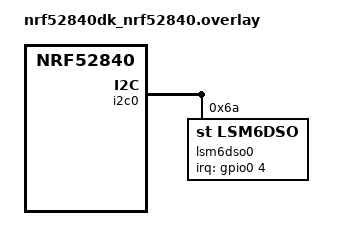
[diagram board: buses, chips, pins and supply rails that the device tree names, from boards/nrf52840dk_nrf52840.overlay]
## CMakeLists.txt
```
# SPDX-License-Identifier: Apache-2.0
cmake_minimum_required(VERSION 3.20.0)

# 1. Version Info
set(APP_VERSION_MAJOR 1)
set(APP_VERSION_MINOR 0)
set(APP_VERSION_PATCH 0)

find_package(Zephyr REQUIRED HINTS $ENV{ZEPHYR_BASE})

# 2. Project Name
project(ble_hearable VERSION ${APP_VERSION_MAJOR}.${APP_VERSION_MINOR}.${APP_VERSION_PATCH})

# 3. Add source files
target_sources(app PRIVATE
  src/main.c
  src/imu.c
  src/gesture_detect.c
  src/gesture_thread.c
  src/adaptive_power.c
  src/power_stats.c
  src/watchdog.c
)

if(CONFIG_BT)
  target_sources(app PRIVATE src/gesture_service.c src/fault_recovery.c src/ble_adaptive.c src/network_stress.c src/state_reporter.c)
endif()

# 4. Pass versions to C code
target_compile_definitions(app PRIVATE
  -DAPP_VERSION_MAJOR=${APP_VERSION_MAJOR}
  -DAPP_VERSION_MINOR=${APP_VERSION_MINOR}
  -DAPP_VERSION_PATCH=${APP_VERSION_PATCH}
)
```

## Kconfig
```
mainmenu "BLE Hearable System"

# nRF52840 PM workaround
config APP_PM_HOOKS
    bool
    default y
    select HAS_PM
    help
      Provides the pm_state_set() and pm_state_exit_post_ops() hooks.
      Without this, CONFIG_PM silently resolves to 'n' on nRF52840.

source "Kconfig.zephyr"
```

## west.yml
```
manifest:
  projects:
    - name: zephyr
      url: https://github.com/zephyrproject-rtos/zephyr
      revision: v4.3.0
      import: true
  self:
    path: firmware
```

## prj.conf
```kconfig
CONFIG_SYSTEM_WORKQUEUE_STACK_SIZE=4096
CONFIG_MAIN_STACK_SIZE=4096
CONFIG_PRINTK=y

CONFIG_BT=y
CONFIG_BT_PERIPHERAL=y
CONFIG_BT_DEVICE_NAME="Zephyr Hearable"
CONFIG_BT_SETTINGS=y
CONFIG_BT_L2CAP_TX_MTU=498
CONFIG_BT_BUF_ACL_RX_SIZE=502
CONFIG_BT_BUF_ACL_TX_SIZE=502

CONFIG_I2C=y
CONFIG_SENSOR=y
CONFIG_LSM6DSO=y

CONFIG_FLASH=y
CONFIG_FLASH_MAP=y
CONFIG_NVS=y
CONFIG_SETTINGS=y

CONFIG_BOOTLOADER_MCUBOOT=y
CONFIG_IMG_MANAGER=y
CONFIG_STREAM_FLASH=y

CONFIG_ZCBOR=y
CONFIG_MCUMGR=y
CONFIG_MCUMGR_TRANSPORT_BT=y
CONFIG_MCUMGR_GRP_IMG=y
CONFIG_MCUMGR_GRP_OS=y
CONFIG_MCUMGR_TRANSPORT_BT_REASSEMBLY=y
CONFIG_MCUMGR_TRANSPORT_NETBUF_SIZE=2475
CONFIG_MCUMGR_TRANSPORT_NETBUF_COUNT=8

# Power Management
# HAS_PM is selected by APP_PM_HOOKS in the app Kconfig file —
# that is what makes CONFIG_PM=y actually take effect on nRF52840.
CONFIG_PM=y
# CONFIG_PM_DEVICE is intentionally disabled.
# pm_resume_devices() is called from ISR context (_isr_wrapper → pm_system_resume).
# Any PM device whose resume callback does I/O (I2C, SPI, QSPI, sensor init)
# calls k_sem_take() from ISR context → assertion in sem.c.
# CPU sleep (WFI / suspend-to-idle) works through CONFIG_PM alone;
# device PM hooks are not needed for this application.
CONFIG_PM_DEVICE=n
CONFIG_TICKLESS_KERNEL=y

# Sleep / idle stats (SCHED_THREAD_USAGE* are auto-selected by THREAD_RUNTIME_STATS)
CONFIG_THREAD_RUNTIME_STATS=y
CONFIG_THREAD_RUNTIME_STATS_USE_TIMING_FUNCTIONS=y
CONFIG_TIMING_FUNCTIONS=y

# Logging - FIXED
CONFIG_LOG=y
CONFIG_USE_SEGGER_RTT=y
CONFIG_LOG_BACKEND_RTT=y
# CONFIG_LOG_BACKEND_UART is not set
CONFIG_LOG_DEFAULT_LEVEL=2
CONFIG_SEGGER_RTT_BUFFER_SIZE_UP=8192
CONFIG_LOG_BACKEND_RTT_OUTPUT_BUFFER_SIZE=512

# Float support
CONFIG_CBPRINTF_FP_SUPPORT=y

# Fault dump
CONFIG_FAULT_DUMP=2
CONFIG_RTT_CONSOLE=y

# Image version for MCUboot header (must match CMakeLists.txt version)
CONFIG_MCUBOOT_IMGTOOL_SIGN_VERSION="1.0.0+0"

# Misc
CONFIG_WATCHDOG=n
CONFIG_ASSERT=y
CONFIG_STACK_SENTINEL=y

# --- Diagnostic Settings ---
CONFIG_BOOT_BANNER=y
CONFIG_LSM6DSO_TRIGGER_NONE=y

CONFIG_REBOOT=y
CONFIG_NET_BUF=y
CONFIG_WATCHDOG=y
CONFIG_WDT_DISABLE_AT_BOOT=n
```

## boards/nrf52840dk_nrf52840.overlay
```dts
/ {
    chosen {
        zephyr,code-partition = &slot0_partition;
    };

    /*
     * PM power states for nRF52840.
     * min-residency-us: minimum idle window before the PM policy commits to
     *   this state.  500 µs is well below the IMU interrupt period (~83 ms at
     *   12 Hz ODR) so virtually every idle window qualifies.
     * exit-latency-us: worst-case wakeup time before the CPU is active again.
     */
    power-states {
        suspend_to_idle: suspend-to-idle {
            compatible = "zephyr,power-state";
            power-state-name = "suspend-to-idle";
            min-residency-us = <500>;
            exit-latency-us = <100>;
        };
    };
};

/* Link the power state to the Cortex-M4 core so the PM policy can select it.
 * nRF52840 DTSI has no 'cpu0' label; reference by path instead. */
&{/cpus/cpu@0} {
    cpu-power-states = <&suspend_to_idle>;
};

/*
 * Disable the on-board QSPI NOR flash (MX25R6435F).
 * The board BSP enables it by default, but this app does not use it.
 * Without this, pm_resume_devices() is called from ISR context
 * (_isr_wrapper → pm_system_resume) and qspi_nor_pm_action(RESUME)
 * calls qspi_lock() → k_sem_take(K_FOREVER) → assertion in sem.c.
 */
&qspi {
    status = "disabled";
};

&i2c0 {
    lsm6dso0: lsm6dso@6a {
        compatible = "st,lsm6dso";
        reg = <0x6a>;
        irq-gpios = <&gpio0 4 GPIO_ACTIVE_HIGH>;
        int-pin = <2>;
    };
};

&flash0 {
    partitions {
        compatible = "fixed-partitions";
        #address-cells = <1>;
        #size-cells = <1>;
        boot_partition: partition@0 {
            label = "mcuboot";
            reg = <0x00000000 0xc000>;
        };
        slot0_partition: partition@c000 {
            label = "image-0";
            reg = <0x0000c000 0x76000>;
        };
        slot1_partition: partition@82000 {
            label = "image-1";
            reg = <0x00082000 0x76000>;
        };
        storage_partition: partition@f8000 {
            label = "storage";
            reg = <0x000f8000 0x00008000>;
        };
    };
};
```

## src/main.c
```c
#include <zephyr/kernel.h>
#include <zephyr/logging/log.h>
#include "power_stats.h"
#include "app_types.h"
#include "gesture_thread.h"
#include "watchdog.h"
#if defined(CONFIG_BT)
#include "gesture_service.h"
#include "ble_adaptive.h"
#include "network_stress.h"
#include <zephyr/dfu/mcuboot.h>
#include <hal/nrf_power.h>
#include "fault_recovery.h"
#include "state_reporter.h"
#endif

LOG_MODULE_REGISTER(main, LOG_LEVEL_INF);

#define SAMPLE_QUEUE_SIZE  32
#define GESTURE_QUEUE_SIZE 128

K_MSGQ_DEFINE(sample_queue, sizeof(struct imu_sample), SAMPLE_QUEUE_SIZE, 4);
K_MSGQ_DEFINE(gesture_queue, sizeof(struct gesture_event), GESTURE_QUEUE_SIZE, 4);

int main(void)
{
    LOG_INF("========================================");
    LOG_INF("BLE Hearable System v%d.%d.%d",
            APP_VERSION_MAJOR,
            APP_VERSION_MINOR,
            APP_VERSION_PATCH);
    LOG_INF("========================================");

    uint32_t _boot_ms = k_cyc_to_ms_near32(k_cycle_get_32());
    LOG_INF("Boot time: %u ms", _boot_ms);

    /* Reset reason from POWER register */
    uint32_t resetreas = NRF_POWER->RESETREAS;
    NRF_POWER->RESETREAS = 0xFFFFFFFF;
    if (resetreas & 0x01) LOG_INF("Reset reason: PIN (reset button)");
    if (resetreas & 0x02) LOG_INF("Reset reason: Watchdog");
    if (resetreas & 0x04) LOG_INF("Reset reason: SREQ (soft reset)");
    if (resetreas & 0x08) LOG_INF("Reset reason: LOCKUP (HardFault)");
    if (resetreas == 0)   LOG_INF("Reset reason: Power-on reset");

    LOG_INF("Boot: BLE Hearable (IMU->Gesture->BLE)");

    power_stats_init();
    watchdog_init();

#if defined(CONFIG_BT)
    fault_recovery_init();
    state_reporter_init();

    if (boot_is_img_confirmed() == 0) {
        int rc = boot_write_img_confirmed();
        if (rc == 0) LOG_INF("OTA: image confirmed");
        else LOG_ERR("OTA: confirm failed: %d", rc);
    } else {
        LOG_INF("OTA: image already confirmed");
    }
#endif

    int ret = gesture_threads_start(&sample_queue, &gesture_queue);
    if (ret) {
        LOG_ERR("gesture_threads_start failed: %d", ret);
        return 0;
    }

#if defined(CONFIG_BT)
    ble_gesture_bind_queue(&gesture_queue);
    network_stress_set_queue(&gesture_queue);

    ret = ble_gesture_init();
    if (ret) {
        LOG_ERR("ble_gesture_init failed: %d", ret);
        return 0;
    }

    ble_adaptive_init();

    ret = ble_gesture_start();
    if (ret) {
        LOG_ERR("ble_gesture_start failed: %d", ret);
        return 0;
    }

    k_sleep(K_SECONDS(10));
    network_stress_run();
#endif

    while (1) {
        watchdog_feed();
        k_sleep(K_SECONDS(1));
    }

    return 0;
}
```

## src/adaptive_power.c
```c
#include <zephyr/kernel.h>
#include <zephyr/logging/log.h>

LOG_MODULE_REGISTER(adaptive, LOG_LEVEL_INF);

typedef enum {
    MODE_ULTRA_LOW_POWER,
    MODE_BALANCED,
    MODE_LOW_LATENCY
} power_mode_t;

static power_mode_t current_mode = MODE_BALANCED;
static uint32_t last_motion_time = 0;

static const struct {
    uint32_t sampling_interval_ms;
    uint32_t odr_hz;
    const char *name;
} mode_config[] = {
    [MODE_ULTRA_LOW_POWER] = {100,  1, "Ultra Low Power"},
    [MODE_BALANCED]        = { 20, 12, "Balanced"},
    [MODE_LOW_LATENCY]     = { 10, 52, "Low Latency"},
};

power_mode_t adaptive_select_mode(bool connected, uint32_t motion_level)
{
    if (!connected) return MODE_ULTRA_LOW_POWER;
    uint32_t idle_time = k_uptime_get_32() - last_motion_time;
    if (motion_level > 80 || idle_time < 2000) return MODE_LOW_LATENCY;
    if (idle_time < 10000) return MODE_BALANCED;
    return MODE_ULTRA_LOW_POWER;
}

void adaptive_update_motion(uint32_t motion_level)
{
    if (motion_level > 50) last_motion_time = k_uptime_get_32();
}

uint32_t adaptive_get_sampling_interval(void)
{
    return mode_config[current_mode].sampling_interval_ms;
}

void adaptive_set_mode(power_mode_t mode)
{
    if (mode != current_mode) {
        current_mode = mode;
    }
}

const char *adaptive_get_mode_name(void)
{
    return mode_config[current_mode].name;
}

uint32_t adaptive_get_odr_hz(void)
{
    return mode_config[current_mode].odr_hz;
}
```

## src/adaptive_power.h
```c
#ifndef ADAPTIVE_POWER_H
#define ADAPTIVE_POWER_H

#include <stdint.h>
#include <stdbool.h>

typedef enum {
    MODE_ULTRA_LOW_POWER,
    MODE_BALANCED,
    MODE_LOW_LATENCY
} power_mode_t;

power_mode_t adaptive_select_mode(bool connected, uint32_t motion_level);
void adaptive_update_motion(uint32_t motion_level);
void adaptive_set_mode(power_mode_t mode);
uint32_t adaptive_get_sampling_interval(void);
const char *adaptive_get_mode_name(void);
uint32_t adaptive_get_odr_hz(void);

#endif
```

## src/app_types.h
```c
#ifndef APP_TYPES_H_
#define APP_TYPES_H_

#include <stdint.h>

struct imu_sample {
	int16_t accel_x, accel_y, accel_z;
	int16_t gyro_x,  gyro_y,  gyro_z;
	uint32_t timestamp; /* ms */
};

enum gesture_type {
	GESTURE_NONE  = 0,
	GESTURE_NOD   = 1,
	GESTURE_LEFT  = 2,
	GESTURE_RIGHT = 3,
};

struct gesture_event {
	uint8_t type;       /* enum gesture_type */
	uint32_t timestamp; /* ms */
};

#endif /* APP_TYPES_H_ */
```

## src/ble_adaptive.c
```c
#include "ble_adaptive.h"
#include <zephyr/kernel.h>
#include <zephyr/bluetooth/conn.h>
#include <zephyr/logging/log.h>

LOG_MODULE_REGISTER(ble_adaptive, LOG_LEVEL_INF);

/* Raw pointer — valid between on_connected / on_disconnected callbacks. */
static struct bt_conn *current_conn;
static uint32_t tx_count;
static uint32_t last_tx_time;

static struct bt_le_conn_param pending_param;

/* Delayable work — handler runs in system work queue (thread context),
 * so bt_conn_ref() / bt_conn_le_param_update() are both legal here.
 * A plain k_timer ISR is NOT suitable because bt_conn_ref() calls
 * k_sem_take() internally and asserts when called from ISR context. */
static struct k_work_delayable policy_dwork;

static void policy_work_handler(struct k_work *work)
{
    ARG_UNUSED(work);

    /* Snapshot tx_count before we potentially yield. */
    uint32_t count = tx_count;
    tx_count = 0;

    /* Take a ref in thread context — safe here (not ISR). */
    struct bt_conn *conn = current_conn;
    if (!conn) {
        goto reschedule;
    }
    conn = bt_conn_ref(conn);

    if (count > 100) {
        pending_param.interval_min = 8;
        pending_param.interval_max = 16;
        pending_param.latency = 0;
        pending_param.timeout = 400;
    } else if (count > 20) {
        pending_param.interval_min = 40;
        pending_param.interval_max = 80;
        pending_param.latency = 2;
        pending_param.timeout = 400;
    } else {
        pending_param.interval_min = 80;
        pending_param.interval_max = 160;
        pending_param.latency = 4;
        pending_param.timeout = 400;
    }

    int ret = bt_conn_le_param_update(conn, &pending_param);
    if (ret) {
        LOG_WRN("conn param update failed: %d", ret);
    }
    bt_conn_unref(conn);

reschedule:
    k_work_schedule(&policy_dwork, K_SECONDS(10));
}

/* ---- BT connection callbacks ---- */
static void on_ble_connected(struct bt_conn *conn, uint8_t err)
{
    if (err) {
        return;
    }
    current_conn = conn;
    LOG_INF("ble_adaptive: tracking connection");
}

static void on_ble_disconnected(struct bt_conn *conn, uint8_t reason)
{
    ARG_UNUSED(reason);
    if (conn == current_conn) {
        current_conn = NULL;
        LOG_INF("ble_adaptive: connection lost");
    }
}

BT_CONN_CB_DEFINE(adaptive_conn_cb) = {
    .connected    = on_ble_connected,
    .disconnected = on_ble_disconnected,
};

void ble_adaptive_register_tx(void) { tx_count++; last_tx_time = k_uptime_get_32(); }

void ble_adaptive_init(void)
{
    k_work_init_delayable(&policy_dwork, policy_work_handler);
    k_work_schedule(&policy_dwork, K_SECONDS(10));
    LOG_INF("BLE adaptive policy enabled");
}
```

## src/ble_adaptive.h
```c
#ifndef BLE_ADAPTIVE_H
#define BLE_ADAPTIVE_H

void ble_adaptive_init(void);
void ble_adaptive_register_tx(void);

#endif
```

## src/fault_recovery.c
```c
#include "fault_recovery.h"
#include <zephyr/kernel.h>
#include <zephyr/logging/log.h>
#include <zephyr/sys/reboot.h>
#include "imu.h"
#include "gesture_service.h"

LOG_MODULE_REGISTER(fault_recovery, LOG_LEVEL_INF);

typedef enum {
    STATE_HEALTHY,
    STATE_DEGRADED,
    STATE_RECOVERING,
    STATE_FAILED,
} system_state_t;

static system_state_t current_state = STATE_HEALTHY;

static struct {
    uint32_t imu_failures;
    uint32_t ble_disconnects;
    uint32_t last_health_check;
} health = {0};

static int recover_imu(void)
{
    LOG_WRN("IMU fault detected, attempting recovery...");
    int ret = imu_init();
    if (ret == 0) {
        LOG_INF("IMU recovered");
        health.imu_failures = 0;
        return 0;
    }
    health.imu_failures++;
    LOG_ERR("IMU recovery failed (%d attempts)", health.imu_failures);
    return -1;
}

static int recover_ble(void)
{
    LOG_WRN("BLE disconnect, restarting advertising...");
    int ret = ble_gesture_start();
    if (ret == 0) {
        LOG_INF("BLE advertising restarted");
        health.ble_disconnects = 0;
        return 0;
    }
    health.ble_disconnects++;
    LOG_ERR("BLE recovery failed");
    return -1;
}

static void update_system_state(void)
{
    uint32_t total = health.imu_failures + health.ble_disconnects;

    switch (current_state) {
    case STATE_HEALTHY:
        if (total > 0) {
            current_state = STATE_DEGRADED;
            LOG_WRN("State: HEALTHY -> DEGRADED");
        }
        break;
    case STATE_DEGRADED:
        if (total == 0) {
            current_state = STATE_HEALTHY;
            LOG_INF("State: DEGRADED -> HEALTHY");
        } else if (total > 5) {
            current_state = STATE_RECOVERING;
            LOG_ERR("State: DEGRADED -> RECOVERING");
        }
        break;
    case STATE_RECOVERING:
        if (health.imu_failures > 0) recover_imu();
        if (health.ble_disconnects > 0) recover_ble();
        if (total == 0) {
            current_state = STATE_HEALTHY;
            LOG_INF("State: RECOVERING -> HEALTHY");
        } else if (total > 10) {
            current_state = STATE_FAILED;
            LOG_ERR("State: RECOVERING -> FAILED");
        }
        break;
    case STATE_FAILED:
        LOG_ERR("System failed, rebooting...");
        k_sleep(K_SECONDS(5));
        sys_reboot(SYS_REBOOT_COLD);
        break;
    }
}

void fault_recovery_report_failure(const char *component)
{
    LOG_ERR("Failure: %s", component);
    if (strcmp(component, "imu") == 0) {
        health.imu_failures++;
        recover_imu();
    } else if (strcmp(component, "ble") == 0) {
        health.ble_disconnects++;
        recover_ble();
    }
    update_system_state();
}

static void health_check_fn(void *a, void *b, void *c)
{
    while (1) {
        update_system_state();
        uint32_t now = k_uptime_get_32();
        if (now - health.last_health_check > 60000) {
            LOG_INF("=== Health === state=%s imu_fail=%u ble_disc=%u",
                    fault_recovery_get_state_string(),
                    health.imu_failures,
                    health.ble_disconnects);
            health.last_health_check = now;
        }
        k_sleep(K_SECONDS(10));
    }
}

K_THREAD_DEFINE(health_tid, 1024, health_check_fn, NULL, NULL, NULL, 5, 0, 0);

const char* fault_recovery_get_state_string(void)
{
    switch (current_state) {
    case STATE_HEALTHY:   return "healthy";
    case STATE_DEGRADED:  return "degraded";
    case STATE_RECOVERING:return "recovering";
    case STATE_FAILED:    return "failed";
    default:              return "unknown";
    }
}

void fault_recovery_init(void)
{
    LOG_INF("Fault recovery initialized");
}
```

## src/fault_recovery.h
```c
#ifndef FAULT_RECOVERY_H
#define FAULT_RECOVERY_H

void fault_recovery_init(void);
void fault_recovery_report_failure(const char *component);
const char* fault_recovery_get_state_string(void);

#endif
```

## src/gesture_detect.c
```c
#include "gesture_detect.h"

static inline int16_t i16_abs(int16_t x)
{
	return (x < 0) ? (int16_t)(-x) : x;
}

void gesture_detect_init(struct gesture_state *st)
{
	if (!st) {
		return;
	}
	st->last_fired = GESTURE_NONE;
	st->last_fire_time = 0;
	st->candidate = GESTURE_NONE;
	st->stable_cnt = 0;
}

struct gesture_cfg gesture_cfg_default(void)
{
	struct gesture_cfg cfg = {
		.th_x = 2500,
		.th_y = 2500,
		.deadzone = 1200,
		.stable_n = 3,
		.cooldown_ms = 700,
	};
	return cfg;
}

enum gesture_type gesture_detect_update(struct gesture_state *st,
					const struct gesture_cfg *cfg,
					const struct imu_sample *s,
					uint32_t now_ms)
{
	enum gesture_type g;

	if (!st || !cfg || !s) {
		return GESTURE_NONE;
	}

	/* 1) cooldown */
	if ((now_ms - st->last_fire_time) < cfg->cooldown_ms) {
		return GESTURE_NONE;
	}

	/* 2) must return to neutral (deadzone) before next event */
	if (st->last_fired != GESTURE_NONE) {
		if (i16_abs(s->accel_x) < cfg->deadzone &&
		    i16_abs(s->accel_y) < cfg->deadzone) {
			st->last_fired = GESTURE_NONE;
		} else {
			return GESTURE_NONE;
		}
	}

	/* 3) pick candidate */
	g = GESTURE_NONE;
	if (s->accel_x > cfg->th_x) {
		g = GESTURE_RIGHT;
	} else if (s->accel_x < (int16_t)(-cfg->th_x)) {
		g = GESTURE_LEFT;
	} else if (s->accel_y > cfg->th_y) {
		g = GESTURE_NOD;
	}

	/* 4) stability */
	if (g == GESTURE_NONE) {
		st->candidate = GESTURE_NONE;
		st->stable_cnt = 0;
		return GESTURE_NONE;
	}

	if (g == st->candidate) {
		st->stable_cnt++;
	} else {
		st->candidate = g;
		st->stable_cnt = 1;
	}

	if (st->stable_cnt >= cfg->stable_n) {
		st->last_fire_time = now_ms;
		st->last_fired = g;
		st->candidate = GESTURE_NONE;
		st->stable_cnt = 0;
		return g;
	}

	return GESTURE_NONE;
}
```

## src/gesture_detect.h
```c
#ifndef GESTURE_DETECT_H_
#define GESTURE_DETECT_H_

#include <stdint.h>
#include "app_types.h"

struct gesture_state {
	enum gesture_type last_fired;
	uint32_t last_fire_time;

	enum gesture_type candidate;
	uint8_t stable_cnt;
};

/* Tunning parameter (Later easy for Kconfig) */
struct gesture_cfg {
	int16_t th_x;        /* left/right threshold (milli-units) */
	int16_t th_y;        /* nod threshold (milli-units) */
	int16_t deadzone;    /* must return to neutral */
	uint8_t stable_n;    /* consecutive samples required */
	uint32_t cooldown_ms;/* debounce */
};

/* default value */
void gesture_detect_init(struct gesture_state *st);
struct gesture_cfg gesture_cfg_default(void);

/* Update: input sample + now_ms -> gesture_type */
enum gesture_type gesture_detect_update(struct gesture_state *st,
					const struct gesture_cfg *cfg,
					const struct imu_sample *s,
					uint32_t now_ms);

#endif /* GESTURE_DETECT_H_ */
```

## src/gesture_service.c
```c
/*
 * BLE gesture service:
 * - Custom 128-bit service + notify characteristic
 * - Worker reads gesture_queue and notifies when CCC enabled
 */

#include "gesture_service.h"
#include "fault_recovery.h"
#include "app_types.h"

#include <zephyr/kernel.h>
#include <zephyr/logging/log.h>
#include <zephyr/sys/byteorder.h>

#include <zephyr/bluetooth/bluetooth.h>
#include <zephyr/bluetooth/gatt.h>
#include <zephyr/settings/settings.h>

LOG_MODULE_REGISTER(gesture_service, LOG_LEVEL_INF);

static void mtu_updated(struct bt_conn *conn, uint16_t tx, uint16_t rx)
{
	ARG_UNUSED(conn);
	LOG_INF("MTU updated: tx=%u rx=%u", tx, rx);
}

static struct bt_gatt_cb gatt_cb = {
	.att_mtu_updated = mtu_updated,
};


/* UUIDs */
#define BT_UUID_GESTURE_SERVICE_VAL \
	BT_UUID_128_ENCODE(0x12345678, 0x1234, 0x5678, 0x1234, 0x56789abcdef0)

#define BT_UUID_GESTURE_EVENT_VAL \
	BT_UUID_128_ENCODE(0x12345678, 0x1234, 0x5678, 0x1234, 0x56789abcdef1)

static const struct bt_uuid_128 svc_uuid = BT_UUID_INIT_128(BT_UUID_GESTURE_SERVICE_VAL);
static const struct bt_uuid_128 evt_uuid = BT_UUID_INIT_128(BT_UUID_GESTURE_EVENT_VAL);

/* payload: [0]=type, [1..4]=timestamp(le32) */
static uint8_t gesture_event_data[6];

static struct k_msgq *gq;
static bool notify_enabled;

/* ---- GATT callbacks ---- */
static ssize_t read_gesture_event(struct bt_conn *conn,
				  const struct bt_gatt_attr *attr,
				  void *buf, uint16_t len, uint16_t offset)
{
	ARG_UNUSED(attr);
	return bt_gatt_attr_read(conn, attr, buf, len, offset,
				 gesture_event_data, sizeof(gesture_event_data));
}

static void gesture_ccc_cfg_changed(const struct bt_gatt_attr *attr, uint16_t value)
{
	ARG_UNUSED(attr);
	notify_enabled = (value == BT_GATT_CCC_NOTIFY);
	LOG_INF("Notifications %s", notify_enabled ? "enabled" : "disabled");
}

/* ---- Service ---- */
BT_GATT_SERVICE_DEFINE(gesture_svc,
	BT_GATT_PRIMARY_SERVICE(&svc_uuid),
	BT_GATT_CHARACTERISTIC(&evt_uuid.uuid,
			       BT_GATT_CHRC_READ | BT_GATT_CHRC_NOTIFY,
			       BT_GATT_PERM_READ,
			       read_gesture_event, NULL, gesture_event_data),
	BT_GATT_CCC(gesture_ccc_cfg_changed, BT_GATT_PERM_READ | BT_GATT_PERM_WRITE),
);

/* ---- Advertising ---- */
static const struct bt_data ad[] = {
	BT_DATA_BYTES(BT_DATA_FLAGS, (BT_LE_AD_GENERAL | BT_LE_AD_NO_BREDR)),
	BT_DATA_BYTES(BT_DATA_UUID128_ALL, BT_UUID_GESTURE_SERVICE_VAL),
};

static const struct bt_data sd[] = {
	BT_DATA(BT_DATA_NAME_COMPLETE, CONFIG_BT_DEVICE_NAME, sizeof(CONFIG_BT_DEVICE_NAME) - 1),
};

/* ---- Worker: pop gesture queue -> notify ---- */
static void ble_notify_work_handler(struct k_work *work);
K_WORK_DELAYABLE_DEFINE(ble_notify_work, ble_notify_work_handler);

static void ble_notify_work_handler(struct k_work *work)
{
	ARG_UNUSED(work);

	if (notify_enabled && gq != NULL) {
		struct gesture_event ev;

		if (k_msgq_get(gq, &ev, K_NO_WAIT) == 0) {
			gesture_event_data[0] = 1; /* version */
			gesture_event_data[1] = ev.type;
			sys_put_le32(ev.timestamp, &gesture_event_data[2]);

			int err = bt_gatt_notify(NULL, &gesture_svc.attrs[2],
						 gesture_event_data, sizeof(gesture_event_data));
			if (err) {
				LOG_WRN("bt_gatt_notify err=%d", err);
			} else {
				LOG_INF("Notified: v=%u type=%u ts=%u", gesture_event_data[0], ev.type, ev.timestamp);
			}
		}
	}

	k_work_schedule(&ble_notify_work, K_MSEC(200));
}

/* ---- Connection parameter update (for PM sleep) ---- */
/*
 * Request 100–500 ms connection interval so the BLE radio is idle long
 * enough for the PM subsystem to enter a named power state between events.
 * Unit = 1.25 ms  →  80 = 100 ms,  400 = 500 ms
 */
#define CONN_INTERVAL_MIN  80   /* 100 ms */
#define CONN_INTERVAL_MAX  400  /* 500 ms */

static const struct bt_le_conn_param slow_params =
	BT_LE_CONN_PARAM_INIT(CONN_INTERVAL_MIN, CONN_INTERVAL_MAX, 0, 400);

/* bt_conn_ref keeps the object alive until the work handler runs. */
static struct bt_conn *pending_conn;
static struct k_work conn_param_work;

static void conn_param_work_handler(struct k_work *work)
{
	ARG_UNUSED(work);
	struct bt_conn *conn = pending_conn;
	if (!conn) {
		return;
	}
	int ret = bt_conn_le_param_update(conn, &slow_params);
	if (ret) {
		LOG_WRN("conn param update request failed: %d", ret);
	}
	bt_conn_unref(conn);
	pending_conn = NULL;
}

static void on_connected(struct bt_conn *conn, uint8_t err)
{
	if (err) {
		LOG_ERR("Connection failed: %u", err);
		return;
	}
	LOG_INF("Connected — requesting slow conn interval (%d–%d * 1.25ms)",
		CONN_INTERVAL_MIN, CONN_INTERVAL_MAX);
	/* Defer bt_conn_le_param_update() — must not run from BT RX thread context.
	 * Drop any previous pending ref before overwriting (rapid reconnect guard). */
	if (pending_conn) {
		bt_conn_unref(pending_conn);
	}
	pending_conn = bt_conn_ref(conn);
	k_work_submit(&conn_param_work);
}

static void on_disconnected(struct bt_conn *conn, uint8_t reason)
{
	fault_recovery_report_failure("ble");
	LOG_INF("Disconnected (reason 0x%02x)", reason);
}

BT_CONN_CB_DEFINE(conn_cb) = {
	.connected    = on_connected,
	.disconnected = on_disconnected,
};

/* ---- Public API ---- */
void ble_gesture_bind_queue(struct k_msgq *gesture_q)
{
	gq = gesture_q;
}

int ble_gesture_init(void)
{
	k_work_init(&conn_param_work, conn_param_work_handler);

	int err = bt_enable(NULL);
	if (err) {
		LOG_ERR("bt_enable failed: %d", err);
		return err;
	}

	if (IS_ENABLED(CONFIG_SETTINGS)) {
		settings_load();
	}

	err = bt_le_adv_start(BT_LE_ADV_CONN_FAST_1, ad, ARRAY_SIZE(ad), sd, ARRAY_SIZE(sd));
	if (err) {
		LOG_ERR("Advertising start failed: %d", err);
		return err;
	}

	bt_gatt_cb_register(&gatt_cb);
	LOG_INF("BLE advertising started");
	return 0;
}

int ble_gesture_start(void)
{
	/* start periodic worker */
	k_work_schedule(&ble_notify_work, K_MSEC(200));
	return 0;
}
```

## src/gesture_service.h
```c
#ifndef BLE_GESTURE_H_
#define BLE_GESTURE_H_

#include <zephyr/kernel.h>
#include <stdint.h>

/* BLE init + advertising */
int ble_gesture_init(void);

/* Bind the gesture_queue so the BLE transmission worker can empty it */
void ble_gesture_bind_queue(struct k_msgq *gesture_q);

/* Start the worker (periodic transmission) */
int ble_gesture_start(void);

#endif /* BLE_GESTURE_H_ */
```

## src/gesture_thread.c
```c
#include "adaptive_power.h"
#include "gesture_thread.h"

#include <zephyr/kernel.h>
#include <zephyr/logging/log.h>

#include "app_types.h"
#include "imu.h"
#include "gesture_detect.h"

LOG_MODULE_REGISTER(gesture_thread, LOG_LEVEL_INF);

static struct k_msgq *sq;
static struct k_msgq *gq;

static struct gesture_state gst;
static struct gesture_cfg gcfg;

#define IMU_STACK_SIZE      2048
#define IMU_THREAD_PRIO     7
#define GESTURE_STACK_SIZE  2048  /* needs room for I2C (sensor_attr_set) + LOG formatting */
#define GESTURE_THREAD_PRIO 8

K_THREAD_STACK_DEFINE(imu_stack, IMU_STACK_SIZE);
K_THREAD_STACK_DEFINE(gesture_stack, GESTURE_STACK_SIZE);

static struct k_thread imu_t;
static struct k_thread gest_t;

static void imu_thread_fn(void *p1, void *p2, void *p3)
{
    ARG_UNUSED(p1); ARG_UNUSED(p2); ARG_UNUSED(p3);

    LOG_INF("IMU thread started");

    int ret = imu_trigger_start(sq);
    if (ret == 0) {
        /* Interrupt-driven: thread just waits, handler feeds the queue */
        while (1) {
            k_sleep(K_FOREVER);
        }
    }

    /* Trigger not available (e.g. TRIGGER_NONE) — fall back to polling */
    LOG_WRN("Trigger unavailable (%d), polling at ~1.56 Hz", ret);
    while (1) {
        struct imu_sample s;

        if (imu_read_sample(&s) == 0) {
            s.timestamp = k_uptime_get_32();
            k_msgq_put(sq, &s, K_NO_WAIT);
        }
        k_sleep(K_MSEC(641)); /* 1.56 Hz */
    }
}

static void gesture_thread_fn(void *p1, void *p2, void *p3)
{
    ARG_UNUSED(p1); ARG_UNUSED(p2); ARG_UNUSED(p3);

    LOG_INF("Gesture thread started");

    gesture_detect_init(&gst);
    gcfg = gesture_cfg_default();

    uint32_t cnt = 0;
    /* Expected period in ms — updated whenever ODR changes */
    uint32_t expected_period_ms = 641U; /* initial: 1.56 Hz */
    power_mode_t last_mode = MODE_BALANCED; /* matches adaptive_power.c initial value */
    /* Minimum acceptable pipeline performance (latency budget) */
    static const uint32_t perf_threshold_pct = 85U;

    while (1) {
        struct imu_sample s;

        int ret = k_msgq_get(sq, &s, K_FOREVER);

        if (ret == 0) {
            uint32_t now_ms = k_uptime_get_32();
            uint32_t latency_ms = now_ms - s.timestamp;

            /* Performance = how much of the period is NOT consumed by latency */
            uint32_t latency_pct = (latency_ms * 100U) / expected_period_ms;
            uint32_t perf_pct = (latency_pct >= 100U) ? 0U : (100U - latency_pct);

            /* Warn on every sample that misses the 85% target */
            if (perf_pct < perf_threshold_pct) {
                LOG_WRN("PERF LOW: latency=%u ms -> perf=%u%% (need >=%u%%)",
                        latency_ms, perf_pct, perf_threshold_pct);
            }

            /* Update adaptive mode.
             * Subtract 1g (9800 milli-g) from Z to remove gravity bias so
             * a stationary device does not look like high motion.
             */
            int32_t az_debiased = s.accel_z - 9800;
            int32_t motion = (s.accel_x < 0 ? -s.accel_x : s.accel_x) +
                             (s.accel_y < 0 ? -s.accel_y : s.accel_y) +
                             (az_debiased < 0 ? -az_debiased : az_debiased);
            uint32_t motion_level = (uint32_t)(motion / 10);
            adaptive_update_motion(motion_level);
            power_mode_t new_mode = adaptive_select_mode(true, motion_level);
            adaptive_set_mode(new_mode);
            if (new_mode != last_mode) {
                last_mode = new_mode;
                uint32_t odr_hz = adaptive_get_odr_hz();
                int r = imu_set_odr(odr_hz);
                if (r) {
                    LOG_WRN("ODR update failed: %d", r);
                } else {
                    /* Sync latency baseline: period_ms = 1000 / odr_hz */
                    expected_period_ms = (odr_hz > 0) ? (1000U / odr_hz) : 641U;
                    LOG_INF("ODR updated: %u Hz (period ~%u ms)",
                            odr_hz, expected_period_ms);
                }
            }

            cnt++;
            /* DBG-level per-sample logs — too frequent at high ODR for INF */
            LOG_DBG("[%u] latency=%u ms | perf=%u%% %s | mode=%s",
                    cnt, latency_ms, perf_pct,
                    (perf_pct >= perf_threshold_pct) ? "OK" : "WARN",
                    adaptive_get_mode_name());

            /* Log sensor data every 100 samples */
            if (cnt % 100 == 0) {
                LOG_INF("[%u] ACC(milli): x=%d y=%d z=%d | mode=%s",
                        cnt, s.accel_x, s.accel_y, s.accel_z,
                        adaptive_get_mode_name());
            }

            enum gesture_type g = gesture_detect_update(&gst, &gcfg,
                                                        &s, now_ms);

            if (g != GESTURE_NONE && gq) {
                LOG_INF("Gesture %d detected: latency=%u ms | perf=%u%%",
                        g, latency_ms, perf_pct);
                struct gesture_event ev = {
                    .type = g,
                    .timestamp = now_ms,
                };
                k_msgq_put(gq, &ev, K_NO_WAIT);
            }
        }
    }
}

int gesture_threads_start(struct k_msgq *sample_q, struct k_msgq *gesture_q)
{
    sq = sample_q;
    gq = gesture_q;

    int ret = imu_init();
    if (ret) {
        return ret;
    }

    k_thread_create(&imu_t, imu_stack, IMU_STACK_SIZE,
                    imu_thread_fn, NULL, NULL, NULL,
                    IMU_THREAD_PRIO, 0, K_NO_WAIT);
    k_thread_name_set(&imu_t, "imu");

    k_thread_create(&gest_t, gesture_stack, GESTURE_STACK_SIZE,
                    gesture_thread_fn, NULL, NULL, NULL,
                    GESTURE_THREAD_PRIO, 0, K_NO_WAIT);
    k_thread_name_set(&gest_t, "gesture");

    return 0;
}
```
